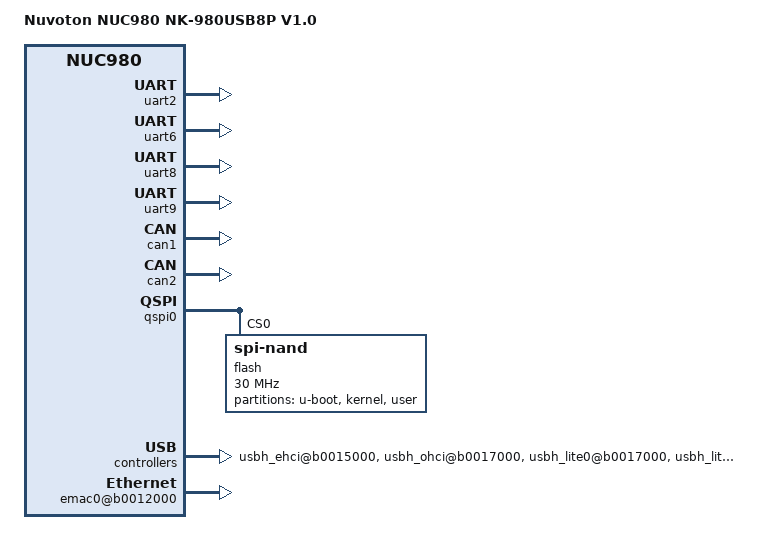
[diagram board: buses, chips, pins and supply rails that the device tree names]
/*
 * Device Tree Source for NUC980 NK-980USB8P board
 *
 * Copyright (C) 2024 Nuvoton Technology Corp.
 *
 * The code contained herein is licensed under the GNU General Public
 * License. You may obtain a copy of the GNU General Public License
 * Version 2 or later at the following locations:
 *
 * http://www.opensource.org/licenses/gpl-license.html
 * http://www.gnu.org/copyleft/gpl.html
 */
/dts-v1/;
#include "nuc980.dtsi"

/ {
	model = "Nuvoton NUC980 NK-980USB8P V1.0";
	compatible = "nuvoton,nuc980-dev-v1.0", "nuvoton,nuc980";

	chosen {
		bootargs = "root=/dev/ram0 console=ttyS0,115200n8 rdinit=/sbin/init mem=64M lpj=744448";
	};

	apb {
		uart1: serial@b0071000 {
			status = "disabled";
		};

		uart2: serial@b0072000 {
			pinctrl-names = "default";
			pinctrl-0 = <&pinctrl_uart2_PA>;
			pdma-enable = <1>;
			status = "okay";
		};

		uart3: serial@b0073000 {
			status = "disabled";
		};

		uart4: serial@b0074000 {
			status = "disabled";
		};

		uart5: serial@b0075000 {
			status = "disabled";
		};

		uart6: serial@b0076000 {
			pinctrl-names = "default";
			pinctrl-0 = <&pinctrl_uart6_PA>;
			pdma-enable = <1>;
			status = "okay";
		};

		uart7: serial@b0077000 {
			pinctrl-names = "default";
			pinctrl-0 = <&pinctrl_uart7_PB>;
			pdma-enable = <1>;
			status = "disabled";
		};

		uart8: serial@b0078000 {
			pinctrl-names = "default";
			pinctrl-0 = <&pinctrl_uart8_PA_PG>;
			pdma-enable = <1>;
			status = "okay";
		};

		uart9: serial@b0079000 {
			pinctrl-names = "default";
			pinctrl-0 = <&pinctrl_uart9_PE_1>;
			pdma-enable = <1>;
			status = "okay";
		};

		can0: can@b00a0000 {
			pinctrl-0 = <&pinctrl_can0_PC>;
			status = "disabled";
		};

		can1: can@b00a1000 {
			pinctrl-0 = <&pinctrl_can1_PD>;
			status = "okay";
		};

		can2: can@b00a2000 {
			pinctrl-0 = <&pinctrl_can2_PD>;
			status = "okay";
		};

		can3: can@b00a3000 {
			pinctrl-0 = <&pinctrl_can3_PA>;
			status = "disabled";
		};

		rtc: rtc@b0041000 {
			status = "okay";
		};

		nadc: nadc@b0043000 {
			status = "disabled";
		};

		adc0: adc0@b0043000 {
			status = "disabled";
		};

		pwm0: pwm@b0058000 {
			status = "disabled";
		};

		pwm1: pwm@b0059000 {
			status = "disabled";
		};

		pinctrl: pinctrl@b0000000 {
			qspi0 {
				pinctrl_qspi0_quad: qspi0_quad {
					nuvoton,pins =
						<3 0x2 0x1 0
						 3 0x3 0x1 0
						 3 0x4 0x1 0
						 3 0x5 0x1 0
						 3 0x6 0x1 0
						 3 0x7 0x1 0
						>;
				};
			};
		};

		qspi0: spi@b0060000 {
			status = "okay";
			#address-cells = <1>;
			#size-cells = <0>;
			pinctrl-names = "default";
			pinctrl-0 = <&pinctrl_qspi0_quad>;
			num_cs  = <2>;
			lsb	 = <0>;
			txneg   = <1>;
			rxneg   = <0>;
			clkpol  = <0>;
			divider = <4>;
			sleep   = <0>;
			txnum   = <0>;
			txbitlen = <8>;
			bus_num	= <0>;

			flash: flash@0 {
				compatible = "spi-nand";
				#address-cells = <1>;
				#size-cells = <1>;
				reg = <0>;
				spi-max-frequency = <30000000>;
				spi-rx-bus-width = <4>;
				spi-tx-bus-width = <1>;
				partition@0 {
					label = "u-boot";
					reg = <0x00000000 0x00200000>;
				};
				partition@1 {
					label = "kernel";
					reg = <0x00200000 0x01600000>;
				};
				partition@2 {
					label = "user";
					reg = <0x01800000 0x06800000>;
				};
			};
		};

		spi0: spi@b0061000 {
			status = "disabled";
		};

		spi1: spi@b0062000 {
			status = "disabled";
		};

		etimer0: etimer0@b0050000 {
			status = "disabled";
		};

		etimer1: etimer1@b0050100 {
			status = "disabled";
		};

		etimer2: etimer2@b0051000 {
			status = "disabled";
		};

		etimer3: etimer3@b0051100 {
			status = "disabled";
		};

		i2c0: i2c0@b0080000 {
			status = "disabled";
		};

		i2c1: i2c1@b0081000 {
			status = "disabled";
		};

		i2c2: i2c2@b0082000 {
			status = "disabled";
		};

		i2c3: i2c3@b0083000 {
			status = "disabled";
		};

		keys: keys@b000b000 {
			status = "okay";
			key-matrix = <4 1>;
			gpio-keys-rows = <6 199 198 203>; /* PA6, PG7, PG6, PG11 */
			// gpio-keys-cols = <c0 c1>;  /* property for keypad matrix only */
			key-code = <KEY_DOWN KEY_UP KEY_LEFT KEY_RIGHT>;
		};
	};

	ahb {
		usbh_ehci@b0015000 {
			pinctrl-0 = <>; /*disable PWREN and OVC*/
			ov_active = <1>;/*disable PWREN and OVC*/
			status = "okay";
		};

		usbh_ohci@b0017000{
			ov_active = <1>;/*disable PWREN and OVC*/
			status = "okay";
		};

		usbh_lite0@b0017000{
			pinctrl-0 = <&pinctrl_lite0_PB5_PB7>;
			status = "okay";
		};

		usbh_lite1@b0017000{
			pinctrl-0 = <&pinctrl_lite1_PF1_PF0>;
			status = "okay";
		};

		usbh_lite2@b0017000{
			pinctrl-0 = <&pinctrl_lite2_PF3_PF2>;
			status = "okay";
		};

		usbh_lite3@b0017000{
			pinctrl-0 = <&pinctrl_lite3_PF5_PF4>;
			status = "okay";
		};

		usbh_lite4@b0017000{
			pinctrl-0 = <&pinctrl_lite4_PB13_PF6>;
			status = "okay";
		};

		usbh_lite5@b0017000{
			pinctrl-0 = <&pinctrl_lite5_PF9_PF8>;
			status = "okay";
		};

		usbdev@b0016000 {
			status = "disabled";
		};

		fmi@b0019000 {
			status = "disabled";
		};

		sdh@b0018000 {
			status = "disabled";
		};

		emac0@b0012000 {
			status = "okay";
		};

		emac1@b0022000 {
			status = "disabled";
		};

		cap0@b0024000 {
			status = "disabled";
		};

		cap1@b0014000 {
			status = "disabled";
		};

		dma@b0008000 {
			status = "okay";
		};

		i2s: i2s@b0020000 {
			status = "disabled";
		};

		i2s_pcm: i2s_pcm {
			status = "disabled";
		};

		sound {
			compatible = "nuvoton,nuc980-audio";
			i2s-controller = <&i2s>;
			i2s-platform = <&i2s_pcm>;
			status = "disabled";
		};
		ebi: ebi@b0010000 {
			status = "disabled";
		};
	};
};
